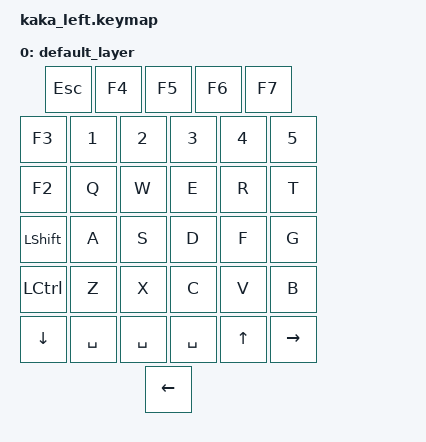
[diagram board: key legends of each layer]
/*
 * Copyright (c) 2020 The ZMK Contributors
 *
 * SPDX-License-Identifier: MIT
 */

#include <behaviors.dtsi>
#include <dt-bindings/zmk/keys.h>
#include <dt-bindings/zmk/bt.h>

/ {
        keymap {
                compatible = "zmk,keymap";

                default_layer {
                        bindings = <
        &kp ESC   &kp F4 &kp F5 &kp F6 &kp F7
        &kp F3   &kp N1 &kp N2 &kp N3 &kp N4 &kp N5
        &kp F2   &kp Q &kp W &kp E &kp R &kp T
        &kp LSHIFT   &kp A &kp S &kp D &kp F &kp G
        &kp LCTRL &kp Z &kp X &kp C &kp V &kp B
        &kp DOWN &kp SPACE &kp SPACE &kp SPACE &kp UP &kp RIGHT
        &kp LEFT
        >;
                };
             
        };
};


